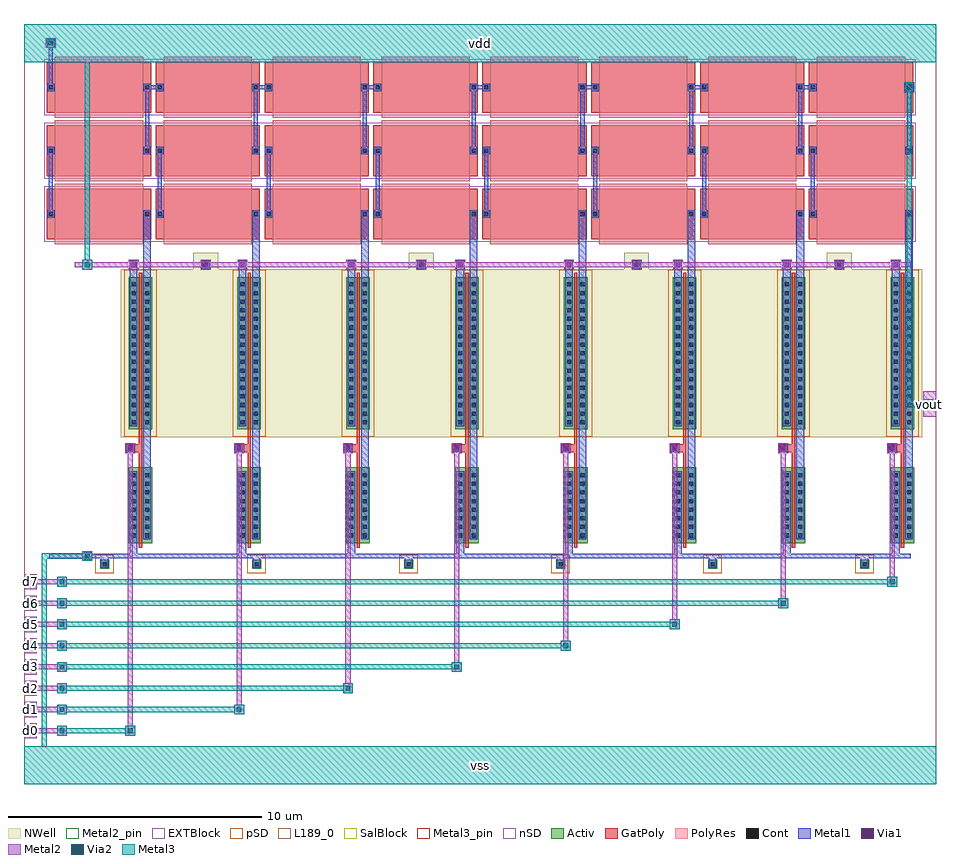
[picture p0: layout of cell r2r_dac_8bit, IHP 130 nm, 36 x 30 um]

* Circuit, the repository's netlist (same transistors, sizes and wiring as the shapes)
* 8-bit R-2R DAC — IHP SG13G2 LVS reference netlist
* CMOS switches (NMOS W=3u + PMOS W=6u), rhigh W=2u L=2.1u
* Folded 2R: two resistors in series (upper + lower) per bit
* Total: 8 NMOS + 8 PMOS + 24 rhigh

.subckt r2r_dac_8bit d0 d1 d2 d3 d4 d5 d6 d7 vout vdd vss

* Series R chain: vdd -> j0 -> j1 -> ... -> j6 -> vout
RRs0  vdd  j0   rhigh w=2u l=2.1u ps=0 b=1 m=1
RRs1  j0   j1   rhigh w=2u l=2.1u ps=0 b=1 m=1
RRs2  j1   j2   rhigh w=2u l=2.1u ps=0 b=1 m=1
RRs3  j2   j3   rhigh w=2u l=2.1u ps=0 b=1 m=1
RRs4  j3   j4   rhigh w=2u l=2.1u ps=0 b=1 m=1
RRs5  j4   j5   rhigh w=2u l=2.1u ps=0 b=1 m=1
RRs6  j5   j6   rhigh w=2u l=2.1u ps=0 b=1 m=1
RRs7  j6   vout rhigh w=2u l=2.1u ps=0 b=1 m=1

* Folded 2R shunt arms (2 resistors per bit: upper + lower)
* junction -> upper_right -> upper_left=hairpin -> lower_left -> lower_right -> switch drain
RR2u0  j0   hp0  rhigh w=2u l=2.1u ps=0 b=1 m=1
RR2l0  hp0  sd0  rhigh w=2u l=2.1u ps=0 b=1 m=1
RR2u1  j1   hp1  rhigh w=2u l=2.1u ps=0 b=1 m=1
RR2l1  hp1  sd1  rhigh w=2u l=2.1u ps=0 b=1 m=1
RR2u2  j2   hp2  rhigh w=2u l=2.1u ps=0 b=1 m=1
RR2l2  hp2  sd2  rhigh w=2u l=2.1u ps=0 b=1 m=1
RR2u3  j3   hp3  rhigh w=2u l=2.1u ps=0 b=1 m=1
RR2l3  hp3  sd3  rhigh w=2u l=2.1u ps=0 b=1 m=1
RR2u4  j4   hp4  rhigh w=2u l=2.1u ps=0 b=1 m=1
RR2l4  hp4  sd4  rhigh w=2u l=2.1u ps=0 b=1 m=1
RR2u5  j5   hp5  rhigh w=2u l=2.1u ps=0 b=1 m=1
RR2l5  hp5  sd5  rhigh w=2u l=2.1u ps=0 b=1 m=1
RR2u6  j6   hp6  rhigh w=2u l=2.1u ps=0 b=1 m=1
RR2l6  hp6  sd6  rhigh w=2u l=2.1u ps=0 b=1 m=1
RR2u7  vout hp7  rhigh w=2u l=2.1u ps=0 b=1 m=1
RR2l7  hp7  sd7  rhigh w=2u l=2.1u ps=0 b=1 m=1

* NMOS switches (gate = d[N], drain = shunt node, source = VSS)
MMn0  sd0 d0 vss vss sg13_lv_nmos w=3u l=0.13u ng=1 m=1
MMn1  sd1 d1 vss vss sg13_lv_nmos w=3u l=0.13u ng=1 m=1
MMn2  sd2 d2 vss vss sg13_lv_nmos w=3u l=0.13u ng=1 m=1
MMn3  sd3 d3 vss vss sg13_lv_nmos w=3u l=0.13u ng=1 m=1
MMn4  sd4 d4 vss vss sg13_lv_nmos w=3u l=0.13u ng=1 m=1
MMn5  sd5 d5 vss vss sg13_lv_nmos w=3u l=0.13u ng=1 m=1
MMn6  sd6 d6 vss vss sg13_lv_nmos w=3u l=0.13u ng=1 m=1
MMn7  sd7 d7 vss vss sg13_lv_nmos w=3u l=0.13u ng=1 m=1

* PMOS switches (gate = d[N], drain = shunt node, source = VDD)
MMp0  sd0 d0 vdd vdd sg13_lv_pmos w=6u l=0.13u ng=1 m=1
MMp1  sd1 d1 vdd vdd sg13_lv_pmos w=6u l=0.13u ng=1 m=1
MMp2  sd2 d2 vdd vdd sg13_lv_pmos w=6u l=0.13u ng=1 m=1
MMp3  sd3 d3 vdd vdd sg13_lv_pmos w=6u l=0.13u ng=1 m=1
MMp4  sd4 d4 vdd vdd sg13_lv_pmos w=6u l=0.13u ng=1 m=1
MMp5  sd5 d5 vdd vdd sg13_lv_pmos w=6u l=0.13u ng=1 m=1
MMp6  sd6 d6 vdd vdd sg13_lv_pmos w=6u l=0.13u ng=1 m=1
MMp7  sd7 d7 vdd vdd sg13_lv_pmos w=6u l=0.13u ng=1 m=1

.ends r2r_dac_8bit

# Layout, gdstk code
import gdstk
lib = gdstk.Library(unit=1e-6, precision=1e-09)
def R(c, l, rs):  # rectangles x0, y0, x1, y1
    for r in rs: c.add(gdstk.rectangle(r[:2], r[2:], *l))
def A(c, l, x, y, w, h, nx, ny, dx, dy):  # array of equal rectangles
    R(c, l, [(x+i*dx, y+j*dy, x+i*dx+w, y+j*dy+h) for i in range(nx) for j in range(ny)])
Activ = (1, 0)
GatPoly = (5, 0)
Cont = (6, 0)
nSD = (7, 0)
Metal1 = (8, 0)
Metal2 = (10, 0)
Metal2_pin = (10, 2)
pSD = (14, 0)
Via1 = (19, 0)
SalBlock = (28, 0)
Via2 = (29, 0)
Metal3 = (30, 0)
Metal3_pin = (30, 2)
NWell = (31, 0)
EXTBlock = (111, 0)
PolyRes = (128, 0)
L189_0 = (189, 0)

r2r_dac_8bit = lib.new_cell('r2r_dac_8bit')
A(r2r_dac_8bit, Activ, 3, 8.5, 0.36, 0.36, 6, 1, 6, 0)
A(r2r_dac_8bit, Activ, 12.725, 9.5, 0.93, 3, 3, 1, 4.295, 0)
A(r2r_dac_8bit, Activ, 12.725, 14, 0.93, 6, 3, 1, 4.295, 0)
A(r2r_dac_8bit, Activ, 7, 20.3, 0.36, 0.36, 3, 1, 8.5, 0)
R(r2r_dac_8bit, Activ, [(4.13,9.5,5.06,12.5), (8.425,9.5,9.355,12.5), (25.615,9.5,26.545,12.5), (29.91,9.5,30.84,12.5), (34.21,9.5,35.14,12.5), (4.13,14,5.06,20), (8.425,14,9.355,20), (25.615,14,26.545,20), (29.91,14,30.84,20), (34.21,14,35.14,20), (32,20.3,32.36,20.66)])
A(r2r_dac_8bit, GatPoly, 13.125, 9.32, 0.13, 3.36, 3, 1, 4.295, 0)
A(r2r_dac_8bit, GatPoly, 13.125, 12.68, 0.13, 1.14, 3, 1, 4.295, 0)
A(r2r_dac_8bit, GatPoly, 12.63, 13.09, 0.625, 0.32, 3, 1, 4.295, 0)
A(r2r_dac_8bit, GatPoly, 13.125, 13.82, 0.13, 6.36, 3, 1, 4.295, 0)
A(r2r_dac_8bit, GatPoly, 0.9, 21.5, 4.12, 2, 1, 3, 0, 2.5)
A(r2r_dac_8bit, GatPoly, 5.2, 21.5, 4.115, 2, 1, 3, 0, 2.5)
A(r2r_dac_8bit, GatPoly, 9.495, 21.5, 4.12, 2, 1, 3, 0, 2.5)
A(r2r_dac_8bit, GatPoly, 13.795, 21.5, 4.115, 2, 1, 3, 0, 2.5)
A(r2r_dac_8bit, GatPoly, 18.09, 21.5, 4.115, 2, 1, 3, 0, 2.5)
A(r2r_dac_8bit, GatPoly, 22.385, 21.5, 4.12, 2, 1, 3, 0, 2.5)
A(r2r_dac_8bit, GatPoly, 26.685, 21.5, 4.115, 2, 1, 3, 0, 2.5)
A(r2r_dac_8bit, GatPoly, 30.98, 21.5, 4.12, 2, 1, 3, 0, 2.5)
R(r2r_dac_8bit, GatPoly, [(4.53,9.32,4.66,12.68), (8.825,9.32,8.955,12.68), (26.015,9.32,26.145,12.68), (30.31,9.32,30.44,12.68), (34.61,9.32,34.74,12.68), (4.53,12.68,4.66,13.82), (8.825,12.68,8.955,13.82), (26.015,12.68,26.145,13.82), (30.31,12.68,30.44,13.82), (34.61,12.68,34.74,13.82), (4.035,13.09,4.66,13.41), (8.33,13.09,8.955,13.41), (25.52,13.09,26.145,13.41), (29.815,13.09,30.44,13.41), (34.115,13.09,34.74,13.41), (4.53,13.82,4.66,20.18), (8.825,13.82,8.955,20.18), (26.015,13.82,26.145,20.18), (30.31,13.82,30.44,20.18), (34.61,13.82,34.74,20.18)])
A(r2r_dac_8bit, Cont, 3.1, 8.6, 0.16, 0.16, 6, 1, 6, 0)
A(r2r_dac_8bit, Cont, 4.25, 9.73, 0.16, 0.16, 1, 8, 0, 0.34)
A(r2r_dac_8bit, Cont, 4.78, 9.73, 0.16, 0.16, 1, 8, 0, 0.34)
A(r2r_dac_8bit, Cont, 8.545, 9.73, 0.16, 0.16, 1, 8, 0, 0.34)
A(r2r_dac_8bit, Cont, 9.075, 9.73, 0.16, 0.16, 1, 8, 0, 0.34)
A(r2r_dac_8bit, Cont, 12.845, 9.73, 0.16, 0.16, 1, 8, 0, 0.34)
A(r2r_dac_8bit, Cont, 13.375, 9.73, 0.16, 0.16, 1, 8, 0, 0.34)
A(r2r_dac_8bit, Cont, 17.14, 9.73, 0.16, 0.16, 1, 8, 0, 0.34)
A(r2r_dac_8bit, Cont, 17.67, 9.73, 0.16, 0.16, 1, 8, 0, 0.34)
A(r2r_dac_8bit, Cont, 21.435, 9.73, 0.16, 0.16, 1, 8, 0, 0.34)
A(r2r_dac_8bit, Cont, 21.965, 9.73, 0.16, 0.16, 1, 8, 0, 0.34)
A(r2r_dac_8bit, Cont, 25.735, 9.73, 0.16, 0.16, 1, 8, 0, 0.34)
A(r2r_dac_8bit, Cont, 26.265, 9.73, 0.16, 0.16, 1, 8, 0, 0.34)
A(r2r_dac_8bit, Cont, 30.03, 9.73, 0.16, 0.16, 1, 8, 0, 0.34)
A(r2r_dac_8bit, Cont, 30.56, 9.73, 0.16, 0.16, 1, 8, 0, 0.34)
A(r2r_dac_8bit, Cont, 34.33, 9.73, 0.16, 0.16, 1, 8, 0, 0.34)
A(r2r_dac_8bit, Cont, 34.86, 9.73, 0.16, 0.16, 1, 8, 0, 0.34)
A(r2r_dac_8bit, Cont, 12.71, 13.17, 0.16, 0.16, 3, 1, 4.295, 0)
A(r2r_dac_8bit, Cont, 4.25, 14.2, 0.16, 0.16, 1, 17, 0, 0.34)
A(r2r_dac_8bit, Cont, 4.78, 14.2, 0.16, 0.16, 1, 17, 0, 0.34)
A(r2r_dac_8bit, Cont, 8.545, 14.2, 0.16, 0.16, 1, 17, 0, 0.34)
A(r2r_dac_8bit, Cont, 9.075, 14.2, 0.16, 0.16, 1, 17, 0, 0.34)
A(r2r_dac_8bit, Cont, 12.845, 14.2, 0.16, 0.16, 1, 17, 0, 0.34)
A(r2r_dac_8bit, Cont, 13.375, 14.2, 0.16, 0.16, 1, 17, 0, 0.34)
A(r2r_dac_8bit, Cont, 17.14, 14.2, 0.16, 0.16, 1, 17, 0, 0.34)
A(r2r_dac_8bit, Cont, 17.67, 14.2, 0.16, 0.16, 1, 17, 0, 0.34)
A(r2r_dac_8bit, Cont, 21.435, 14.2, 0.16, 0.16, 1, 17, 0, 0.34)
A(r2r_dac_8bit, Cont, 21.965, 14.2, 0.16, 0.16, 1, 17, 0, 0.34)
A(r2r_dac_8bit, Cont, 25.735, 14.2, 0.16, 0.16, 1, 17, 0, 0.34)
A(r2r_dac_8bit, Cont, 26.265, 14.2, 0.16, 0.16, 1, 17, 0, 0.34)
A(r2r_dac_8bit, Cont, 30.03, 14.2, 0.16, 0.16, 1, 17, 0, 0.34)
A(r2r_dac_8bit, Cont, 30.56, 14.2, 0.16, 0.16, 1, 17, 0, 0.34)
A(r2r_dac_8bit, Cont, 34.33, 14.2, 0.16, 0.16, 1, 17, 0, 0.34)
A(r2r_dac_8bit, Cont, 34.86, 14.2, 0.16, 0.16, 1, 17, 0, 0.34)
A(r2r_dac_8bit, Cont, 7.1, 20.4, 0.16, 0.16, 3, 1, 8.5, 0)
A(r2r_dac_8bit, Cont, 0.98, 22.42, 0.16, 0.16, 1, 3, 0, 2.5)
A(r2r_dac_8bit, Cont, 4.78, 22.42, 0.16, 0.16, 1, 3, 0, 2.5)
A(r2r_dac_8bit, Cont, 5.28, 22.42, 0.16, 0.16, 1, 3, 0, 2.5)
A(r2r_dac_8bit, Cont, 9.075, 22.42, 0.16, 0.16, 1, 3, 0, 2.5)
A(r2r_dac_8bit, Cont, 9.575, 22.42, 0.16, 0.16, 1, 3, 0, 2.5)
A(r2r_dac_8bit, Cont, 13.375, 22.42, 0.16, 0.16, 1, 3, 0, 2.5)
A(r2r_dac_8bit, Cont, 13.875, 22.42, 0.16, 0.16, 1, 3, 0, 2.5)
A(r2r_dac_8bit, Cont, 17.67, 22.42, 0.16, 0.16, 1, 3, 0, 2.5)
A(r2r_dac_8bit, Cont, 18.17, 22.42, 0.16, 0.16, 1, 3, 0, 2.5)
A(r2r_dac_8bit, Cont, 21.965, 22.42, 0.16, 0.16, 1, 3, 0, 2.5)
A(r2r_dac_8bit, Cont, 22.465, 22.42, 0.16, 0.16, 1, 3, 0, 2.5)
A(r2r_dac_8bit, Cont, 26.265, 22.42, 0.16, 0.16, 1, 3, 0, 2.5)
A(r2r_dac_8bit, Cont, 26.765, 22.42, 0.16, 0.16, 1, 3, 0, 2.5)
A(r2r_dac_8bit, Cont, 30.56, 22.42, 0.16, 0.16, 1, 3, 0, 2.5)
A(r2r_dac_8bit, Cont, 31.06, 22.42, 0.16, 0.16, 1, 3, 0, 2.5)
A(r2r_dac_8bit, Cont, 34.86, 22.42, 0.16, 0.16, 1, 3, 0, 2.5)
R(r2r_dac_8bit, Cont, [(4.115,13.17,4.275,13.33), (8.41,13.17,8.57,13.33), (25.6,13.17,25.76,13.33), (29.895,13.17,30.055,13.33), (34.195,13.17,34.355,13.33), (32.1,20.4,32.26,20.56)])
A(r2r_dac_8bit, nSD, 0.8, 21.4, 4.32, 2.2, 1, 3, 0, 2.5)
A(r2r_dac_8bit, nSD, 5.1, 21.4, 4.315, 2.2, 1, 3, 0, 2.5)
A(r2r_dac_8bit, nSD, 9.395, 21.4, 4.32, 2.2, 1, 3, 0, 2.5)
A(r2r_dac_8bit, nSD, 13.695, 21.4, 4.315, 2.2, 1, 3, 0, 2.5)
A(r2r_dac_8bit, nSD, 17.99, 21.4, 4.315, 2.2, 1, 3, 0, 2.5)
A(r2r_dac_8bit, nSD, 22.285, 21.4, 4.32, 2.2, 1, 3, 0, 2.5)
A(r2r_dac_8bit, nSD, 26.585, 21.4, 4.315, 2.2, 1, 3, 0, 2.5)
A(r2r_dac_8bit, nSD, 30.88, 21.4, 4.32, 2.2, 1, 3, 0, 2.5)
A(r2r_dac_8bit, Metal1, 3.03, 8.53, 0.3, 0.3, 6, 1, 6, 0)
A(r2r_dac_8bit, Metal1, 3.03, 8.68, 0.3, 0.32, 6, 1, 6, 0)
A(r2r_dac_8bit, Metal1, 12.775, 9, 0.3, 1, 3, 2, 4.295, 10.5)
A(r2r_dac_8bit, Metal1, 13.305, 11, 0.3, 11.5, 3, 1, 4.295, 0)
A(r2r_dac_8bit, Metal1, 7.03, 20.33, 0.3, 0.3, 3, 1, 8.5, 0)
A(r2r_dac_8bit, Metal1, 7.1, 20.48, 0.16, 0.02, 3, 1, 8.5, 0)
A(r2r_dac_8bit, Metal1, 0.91, 22.35, 0.3, 0.3, 1, 3, 0, 2.5)
A(r2r_dac_8bit, Metal1, 4.71, 22.35, 0.3, 0.3, 1, 3, 0, 2.5)
A(r2r_dac_8bit, Metal1, 5.21, 22.35, 0.3, 0.3, 1, 3, 0, 2.5)
A(r2r_dac_8bit, Metal1, 9.005, 22.35, 0.3, 0.3, 1, 3, 0, 2.5)
A(r2r_dac_8bit, Metal1, 9.505, 22.35, 0.3, 0.3, 1, 3, 0, 2.5)
A(r2r_dac_8bit, Metal1, 13.305, 22.35, 0.3, 0.3, 1, 3, 0, 2.5)
A(r2r_dac_8bit, Metal1, 13.805, 22.35, 0.3, 0.3, 1, 3, 0, 2.5)
A(r2r_dac_8bit, Metal1, 17.6, 22.35, 0.3, 0.3, 1, 3, 0, 2.5)
A(r2r_dac_8bit, Metal1, 18.1, 22.35, 0.3, 0.3, 1, 3, 0, 2.5)
A(r2r_dac_8bit, Metal1, 21.895, 22.35, 0.3, 0.3, 1, 3, 0, 2.5)
A(r2r_dac_8bit, Metal1, 22.395, 22.35, 0.3, 0.3, 1, 3, 0, 2.5)
A(r2r_dac_8bit, Metal1, 26.195, 22.35, 0.3, 0.3, 1, 3, 0, 2.5)
A(r2r_dac_8bit, Metal1, 26.695, 22.35, 0.3, 0.3, 1, 3, 0, 2.5)
A(r2r_dac_8bit, Metal1, 30.49, 22.35, 0.3, 0.3, 1, 3, 0, 2.5)
A(r2r_dac_8bit, Metal1, 30.99, 22.35, 0.3, 0.3, 1, 3, 0, 2.5)
A(r2r_dac_8bit, Metal1, 34.79, 22.35, 0.3, 0.3, 1, 3, 0, 2.5)
A(r2r_dac_8bit, Metal1, 13.875, 22.5, 0.16, 2.5, 3, 1, 4.295, 0)
A(r2r_dac_8bit, Metal1, 13.375, 25, 0.16, 2.5, 3, 1, 4.295, 0)
A(r2r_dac_8bit, Metal1, 13.375, 27.42, 0.66, 0.16, 3, 1, 4.295, 0)
R(r2r_dac_8bit, Metal1, [(2.35,8.85,2.65,9.15), (1,8.92,35,9.08), (1,8.92,2.58,9.08), (4.18,9,4.48,10), (8.475,9,8.775,10), (25.665,9,25.965,10), (29.96,9,30.26,10), (34.26,9,34.56,10), (4.18,9.66,4.48,12.34), (4.71,9.66,5.01,12.34), (8.475,9.66,8.775,12.34), (9.005,9.66,9.305,12.34), (12.775,9.66,13.075,12.34), (13.305,9.66,13.605,12.34), (17.07,9.66,17.37,12.34), (17.6,9.66,17.9,12.34), (21.365,9.66,21.665,12.34), (21.895,9.66,22.195,12.34), (25.665,9.66,25.965,12.34), (26.195,9.66,26.495,12.34), (29.96,9.66,30.26,12.34), (30.49,9.66,30.79,12.34), (34.26,9.66,34.56,12.34), (34.79,9.66,35.09,12.34), (4.71,11,5.01,22.5), (9.005,11,9.305,22.5), (26.195,11,26.495,22.5), (30.49,11,30.79,22.5), (34.79,11,35.09,22.5), (4.045,13.1,4.345,13.4), (4.045,13.1,4.345,13.4), (8.34,13.1,8.64,13.4), (8.34,13.1,8.64,13.4), (12.64,13.1,12.94,13.4), (12.64,13.1,12.94,13.4), (16.935,13.1,17.235,13.4), (16.935,13.1,17.235,13.4), (21.23,13.1,21.53,13.4), (21.23,13.1,21.53,13.4), (25.53,13.1,25.83,13.4), (25.53,13.1,25.83,13.4), (29.825,13.1,30.125,13.4), (29.825,13.1,30.125,13.4), (34.125,13.1,34.425,13.4), (34.125,13.1,34.425,13.4), (4.18,14.13,4.48,19.87), (4.71,14.13,5.01,19.87), (8.475,14.13,8.775,19.87), (9.005,14.13,9.305,19.87), (12.775,14.13,13.075,19.87), (13.305,14.13,13.605,19.87), (17.07,14.13,17.37,19.87), (17.6,14.13,17.9,19.87), (21.365,14.13,21.665,19.87), (21.895,14.13,22.195,19.87), (25.665,14.13,25.965,19.87), (26.195,14.13,26.495,19.87), (29.96,14.13,30.26,19.87), (30.49,14.13,30.79,19.87), (34.26,14.13,34.56,19.87), (34.79,14.13,35.09,19.87), (4.18,19.5,4.48,20.5), (8.475,19.5,8.775,20.5), (25.665,19.5,25.965,20.5), (29.96,19.5,30.26,20.5), (34.26,19.5,34.56,20.5), (32.03,20.33,32.33,20.63), (4.18,20.35,4.48,20.65), (7.03,20.35,7.33,20.65), (8.475,20.35,8.775,20.65), (12.775,20.35,13.075,20.65), (15.53,20.35,15.83,20.65), (17.07,20.35,17.37,20.65), (21.365,20.35,21.665,20.65), (24.03,20.35,24.33,20.65), (25.665,20.35,25.965,20.65), (29.96,20.35,30.26,20.65), (32.03,20.35,32.33,20.65), (34.26,20.35,34.56,20.65), (32.1,20.48,32.26,20.5), (0.98,22.5,1.14,25), (5.28,22.5,5.44,25), (9.575,22.5,9.735,25), (26.765,22.5,26.925,25), (31.06,22.5,31.22,25), (4.78,25,4.94,27.5), (9.075,25,9.235,27.5), (26.265,25,26.425,27.5), (30.56,25,30.72,27.5), (34.86,25,35.02,27.5), (34.79,27.35,35.09,27.65), (4.78,27.42,5.44,27.58), (9.075,27.42,9.735,27.58), (26.265,27.42,26.925,27.58), (30.56,27.42,31.22,27.58), (0.98,27.5,1.14,29.25), (0.91,29.1,1.21,29.4)])
A(r2r_dac_8bit, Metal2, 0, 1.8, 0.5, 0.6, 1, 8, 0, 0.84)
A(r2r_dac_8bit, Metal2, 1.305, 1.905, 0.39, 0.39, 1, 8, 0, 0.84)
A(r2r_dac_8bit, Metal2, 0, 2, 1.5, 0.2, 1, 8, 0, 0.84)
A(r2r_dac_8bit, Metal2, 12.595, 13.055, 0.39, 0.39, 3, 1, 4.295, 0)
R(r2r_dac_8bit, Metal2, [(4,1.905,4.39,2.295), (4.095,2,4.295,13.35), (8.295,2.745,8.685,3.135), (8.39,2.84,8.59,13.35), (12.595,3.585,12.985,3.975), (12.69,3.68,12.89,13.35), (16.89,4.425,17.28,4.815), (16.985,4.52,17.185,13.35), (21.185,5.265,21.575,5.655), (21.28,5.36,21.48,13.35), (25.485,6.105,25.875,6.495), (25.58,6.2,25.78,13.35), (29.78,6.945,30.17,7.335), (29.875,7.04,30.075,13.35), (34.08,7.785,34.47,8.175), (34.175,7.88,34.375,13.35), (2.305,8.805,2.695,9.195), (2.305,8.805,2.695,9.195), (4,13.055,4.39,13.445), (8.295,13.055,8.685,13.445), (25.485,13.055,25.875,13.445), (29.78,13.055,30.17,13.445), (34.08,13.055,34.47,13.445), (35.5,14.5,36,15.5), (35.6,14.5,36,15.5), (35.505,14.805,35.895,15.195), (2.305,20.305,2.695,20.695), (4.135,20.305,4.525,20.695), (6.985,20.305,7.375,20.695), (8.43,20.305,8.82,20.695), (12.73,20.305,13.12,20.695), (15.485,20.305,15.875,20.695), (17.025,20.305,17.415,20.695), (21.32,20.305,21.71,20.695), (23.985,20.305,24.375,20.695), (25.62,20.305,26.01,20.695), (29.915,20.305,30.305,20.695), (31.985,20.305,32.375,20.695), (34.215,20.305,34.605,20.695), (2,20.4,35,20.6), (34.745,27.305,35.135,27.695), (34.745,27.305,35.135,27.695), (0.865,29.055,1.255,29.445), (0.865,29.055,1.255,29.445)])
A(r2r_dac_8bit, Metal2_pin, 0, 1.8, 0.5, 0.6, 1, 8, 0, 0.84)
R(r2r_dac_8bit, Metal2_pin, [(35.5,14.5,36,15.5)])
A(r2r_dac_8bit, pSD, 2.82, 8.32, 0.72, 0.72, 6, 1, 6, 0)
A(r2r_dac_8bit, pSD, 12.545, 13.7, 1.29, 6.6, 3, 1, 4.295, 0)
A(r2r_dac_8bit, pSD, 0.8, 21.4, 4.32, 2.2, 1, 3, 0, 2.5)
A(r2r_dac_8bit, pSD, 5.1, 21.4, 4.315, 2.2, 1, 3, 0, 2.5)
A(r2r_dac_8bit, pSD, 9.395, 21.4, 4.32, 2.2, 1, 3, 0, 2.5)
A(r2r_dac_8bit, pSD, 13.695, 21.4, 4.315, 2.2, 1, 3, 0, 2.5)
A(r2r_dac_8bit, pSD, 17.99, 21.4, 4.315, 2.2, 1, 3, 0, 2.5)
A(r2r_dac_8bit, pSD, 22.285, 21.4, 4.32, 2.2, 1, 3, 0, 2.5)
A(r2r_dac_8bit, pSD, 26.585, 21.4, 4.315, 2.2, 1, 3, 0, 2.5)
A(r2r_dac_8bit, pSD, 30.88, 21.4, 4.32, 2.2, 1, 3, 0, 2.5)
R(r2r_dac_8bit, pSD, [(3.95,13.7,5.24,20.3), (8.245,13.7,9.535,20.3), (25.435,13.7,26.725,20.3), (29.73,13.7,31.02,20.3), (34.03,13.7,35.32,20.3)])
A(r2r_dac_8bit, Via1, 12.695, 13.155, 0.19, 0.19, 3, 1, 4.295, 0)
R(r2r_dac_8bit, Via1, [(2.405,8.905,2.595,9.095), (4.1,13.155,4.29,13.345), (8.395,13.155,8.585,13.345), (25.585,13.155,25.775,13.345), (29.88,13.155,30.07,13.345), (34.18,13.155,34.37,13.345), (4.235,20.405,4.425,20.595), (7.085,20.405,7.275,20.595), (8.53,20.405,8.72,20.595), (12.83,20.405,13.02,20.595), (15.585,20.405,15.775,20.595), (17.125,20.405,17.315,20.595), (21.42,20.405,21.61,20.595), (24.085,20.405,24.275,20.595), (25.72,20.405,25.91,20.595), (30.015,20.405,30.205,20.595), (32.085,20.405,32.275,20.595), (34.315,20.405,34.505,20.595), (34.845,27.405,35.035,27.595), (0.965,29.155,1.155,29.345)])
A(r2r_dac_8bit, SalBlock, 1.22, 21.3, 3.48, 2.4, 1, 3, 0, 2.5)
A(r2r_dac_8bit, SalBlock, 5.52, 21.3, 3.475, 2.4, 1, 3, 0, 2.5)
A(r2r_dac_8bit, SalBlock, 9.815, 21.3, 3.48, 2.4, 1, 3, 0, 2.5)
A(r2r_dac_8bit, SalBlock, 14.115, 21.3, 3.475, 2.4, 1, 3, 0, 2.5)
A(r2r_dac_8bit, SalBlock, 18.41, 21.3, 3.475, 2.4, 1, 3, 0, 2.5)
A(r2r_dac_8bit, SalBlock, 22.705, 21.3, 3.48, 2.4, 1, 3, 0, 2.5)
A(r2r_dac_8bit, SalBlock, 27.005, 21.3, 3.475, 2.4, 1, 3, 0, 2.5)
A(r2r_dac_8bit, SalBlock, 31.3, 21.3, 3.48, 2.4, 1, 3, 0, 2.5)
A(r2r_dac_8bit, Via2, 1.405, 2.005, 0.19, 0.19, 1, 8, 0, 0.84)
R(r2r_dac_8bit, Via2, [(4.1,2.005,4.29,2.195), (8.395,2.845,8.585,3.035), (12.695,3.685,12.885,3.875), (16.99,4.525,17.18,4.715), (21.285,5.365,21.475,5.555), (25.585,6.205,25.775,6.395), (29.88,7.045,30.07,7.235), (34.18,7.885,34.37,8.075), (2.405,8.905,2.595,9.095), (35.605,14.905,35.795,15.095), (2.405,20.405,2.595,20.595), (34.845,27.405,35.035,27.595), (0.965,29.155,1.155,29.345)])
A(r2r_dac_8bit, Metal3, 1.305, 1.905, 0.39, 0.39, 1, 8, 0, 0.84)
R(r2r_dac_8bit, Metal3, [(0,0,36,1.5), (0,0,36,1.5), (0.705,0.74,0.905,8.99), (4,1.905,4.39,2.295), (1.5,2,4.195,2.2), (8.295,2.745,8.685,3.135), (1.5,2.84,8.49,3.04), (12.595,3.585,12.985,3.975), (1.5,3.68,12.79,3.88), (16.89,4.425,17.28,4.815), (1.5,4.52,17.085,4.72), (21.185,5.265,21.575,5.655), (1.5,5.36,21.38,5.56), (25.485,6.105,25.875,6.495), (1.5,6.2,25.68,6.4), (29.78,6.945,30.17,7.335), (1.5,7.04,29.975,7.24), (34.08,7.785,34.47,8.175), (1.5,7.88,34.275,8.08), (2.305,8.805,2.695,9.195), (0.705,8.9,2.6,9.1), (35.505,14.805,35.895,15.195), (34.84,14.9,35.04,27.5), (34.84,14.9,35.7,15.1), (2.305,20.305,2.695,20.695), (2.4,20.5,2.6,29.25), (34.745,27.305,35.135,27.695), (0,28.5,36,30), (0,28.5,36,30), (0.865,29.055,1.255,29.445)])
R(r2r_dac_8bit, Metal3_pin, [(0,0,36,1.5), (0,28.5,36,30)])
A(r2r_dac_8bit, NWell, 6.69, 19.99, 0.98, 0.98, 3, 1, 8.5, 0)
R(r2r_dac_8bit, NWell, [(3.82,13.69,35.45,20.31), (31.69,19.99,32.67,20.97)])
A(r2r_dac_8bit, EXTBlock, 1.22, 21.3, 3.48, 2.4, 1, 3, 0, 2.5)
A(r2r_dac_8bit, EXTBlock, 5.52, 21.3, 3.475, 2.4, 1, 3, 0, 2.5)
A(r2r_dac_8bit, EXTBlock, 9.815, 21.3, 3.48, 2.4, 1, 3, 0, 2.5)
A(r2r_dac_8bit, EXTBlock, 14.115, 21.3, 3.475, 2.4, 1, 3, 0, 2.5)
A(r2r_dac_8bit, EXTBlock, 18.41, 21.3, 3.475, 2.4, 1, 3, 0, 2.5)
A(r2r_dac_8bit, EXTBlock, 22.705, 21.3, 3.48, 2.4, 1, 3, 0, 2.5)
A(r2r_dac_8bit, EXTBlock, 27.005, 21.3, 3.475, 2.4, 1, 3, 0, 2.5)
A(r2r_dac_8bit, EXTBlock, 31.3, 21.3, 3.48, 2.4, 1, 3, 0, 2.5)
A(r2r_dac_8bit, PolyRes, 1.22, 21.3, 3.48, 2.4, 1, 3, 0, 2.5)
A(r2r_dac_8bit, PolyRes, 5.52, 21.3, 3.475, 2.4, 1, 3, 0, 2.5)
A(r2r_dac_8bit, PolyRes, 9.815, 21.3, 3.48, 2.4, 1, 3, 0, 2.5)
A(r2r_dac_8bit, PolyRes, 14.115, 21.3, 3.475, 2.4, 1, 3, 0, 2.5)
A(r2r_dac_8bit, PolyRes, 18.41, 21.3, 3.475, 2.4, 1, 3, 0, 2.5)
A(r2r_dac_8bit, PolyRes, 22.705, 21.3, 3.48, 2.4, 1, 3, 0, 2.5)
A(r2r_dac_8bit, PolyRes, 27.005, 21.3, 3.475, 2.4, 1, 3, 0, 2.5)
A(r2r_dac_8bit, PolyRes, 31.3, 21.3, 3.48, 2.4, 1, 3, 0, 2.5)
R(r2r_dac_8bit, L189_0, [(0,0,36,30)])
r2r_dac_8bit.add(gdstk.Label('d0', (0.25,2.1), layer=10, texttype=25))
r2r_dac_8bit.add(gdstk.Label('d1', (0.25,2.94), layer=10, texttype=25))
r2r_dac_8bit.add(gdstk.Label('d2', (0.25,3.78), layer=10, texttype=25))
r2r_dac_8bit.add(gdstk.Label('d3', (0.25,4.62), layer=10, texttype=25))
r2r_dac_8bit.add(gdstk.Label('d4', (0.25,5.46), layer=10, texttype=25))
r2r_dac_8bit.add(gdstk.Label('d5', (0.25,6.3), layer=10, texttype=25))
r2r_dac_8bit.add(gdstk.Label('d6', (0.25,7.14), layer=10, texttype=25))
r2r_dac_8bit.add(gdstk.Label('d7', (0.25,7.98), layer=10, texttype=25))
r2r_dac_8bit.add(gdstk.Label('vout', (35.75,15), layer=10, texttype=25))
r2r_dac_8bit.add(gdstk.Label('vdd', (18,29.25), layer=30, texttype=25))
r2r_dac_8bit.add(gdstk.Label('vss', (18,0.75), layer=30, texttype=25))

lib.write_gds('r2r_dac_8bit.gds')
